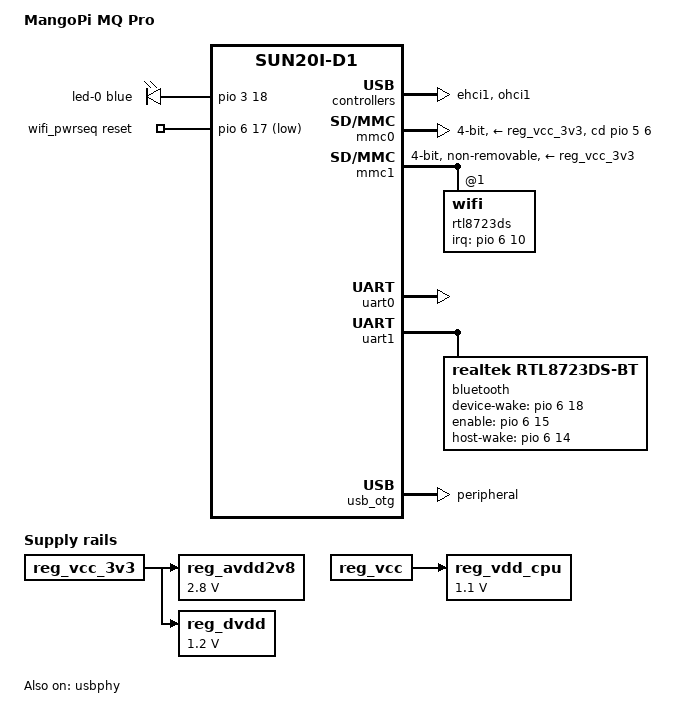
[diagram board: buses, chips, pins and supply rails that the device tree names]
// SPDX-License-Identifier: (GPL-2.0+ or MIT)
// Copyright (C) 2022 Samuel Holland <samuel@sholland.org>

#include <dt-bindings/gpio/gpio.h>
#include <dt-bindings/leds/common.h>

/dts-v1/;

#include "sun20i-d1.dtsi"
#include "sun20i-common-regulators.dtsi"

/ {
	model = "MangoPi MQ Pro";
	compatible = "widora,mangopi-mq-pro", "allwinner,sun20i-d1";

	aliases {
		ethernet0 = &rtl8723ds;
		serial0 = &uart0;
	};

	chosen {
		stdout-path = "serial0:115200n8";
	};

	leds {
		compatible = "gpio-leds";

		led-0 {
			color = <LED_COLOR_ID_BLUE>;
			function = LED_FUNCTION_STATUS;
			gpios = <&pio 3 18 GPIO_ACTIVE_HIGH>; /* PD18 */
		};
	};

	reg_avdd2v8: avdd2v8 {
		compatible = "regulator-fixed";
		regulator-name = "avdd2v8";
		regulator-min-microvolt = <2800000>;
		regulator-max-microvolt = <2800000>;
		vin-supply = <&reg_vcc_3v3>;
	};

	reg_dvdd: dvdd {
		compatible = "regulator-fixed";
		regulator-name = "dvdd";
		regulator-min-microvolt = <1200000>;
		regulator-max-microvolt = <1200000>;
		vin-supply = <&reg_vcc_3v3>;
	};

	reg_vdd_cpu: vdd-cpu {
		compatible = "regulator-fixed";
		regulator-name = "vdd-cpu";
		regulator-min-microvolt = <1100000>;
		regulator-max-microvolt = <1100000>;
		vin-supply = <&reg_vcc>;
	};

	wifi_pwrseq: wifi-pwrseq {
		compatible = "mmc-pwrseq-simple";
		reset-gpios = <&pio 6 17 GPIO_ACTIVE_LOW>; /* PG17 */
	};
};

&cpu0 {
	cpu-supply = <&reg_vdd_cpu>;
};

&dcxo {
	clock-frequency = <24000000>;
};

&ehci1 {
	status = "okay";
};

&mmc0 {
	bus-width = <4>;
	cd-gpios = <&pio 5 6 GPIO_ACTIVE_HIGH>; /* PF6 */
	disable-wp;
	vmmc-supply = <&reg_vcc_3v3>;
	vqmmc-supply = <&reg_vcc_3v3>;
	pinctrl-0 = <&mmc0_pins>;
	pinctrl-names = "default";
	status = "okay";
};

&mmc1 {
	bus-width = <4>;
	mmc-pwrseq = <&wifi_pwrseq>;
	non-removable;
	vmmc-supply = <&reg_vcc_3v3>;
	vqmmc-supply = <&reg_vcc_3v3>;
	pinctrl-0 = <&mmc1_pins>;
	pinctrl-names = "default";
	status = "okay";

	rtl8723ds: wifi@1 {
		reg = <1>;
		interrupt-parent = <&pio>;
		interrupts = <6 10 IRQ_TYPE_LEVEL_LOW>; /* PG10 */
		interrupt-names = "host-wake";
	};
};

&ohci1 {
	status = "okay";
};

&pio {
	vcc-pe-supply = <&reg_avdd2v8>;
};

&uart0 {
	pinctrl-0 = <&uart0_pb8_pins>;
	pinctrl-names = "default";
	status = "okay";
};

&uart1 {
	uart-has-rtscts;
	pinctrl-0 = <&uart1_pg6_pins>, <&uart1_pg8_rts_cts_pins>;
	pinctrl-names = "default";
	status = "okay";

	bluetooth {
		compatible = "realtek,rtl8723ds-bt";
		device-wake-gpios = <&pio 6 18 GPIO_ACTIVE_HIGH>; /* PG18 */
		enable-gpios = <&pio 6 15 GPIO_ACTIVE_HIGH>; /* PG15 */
		host-wake-gpios = <&pio 6 14 GPIO_ACTIVE_HIGH>; /* PG14 */
	};
};

&usb_otg {
	dr_mode = "peripheral";
	status = "okay";
};

&usbphy {
	usb1_vbus-supply = <&reg_vcc>;
	status = "okay";
};
